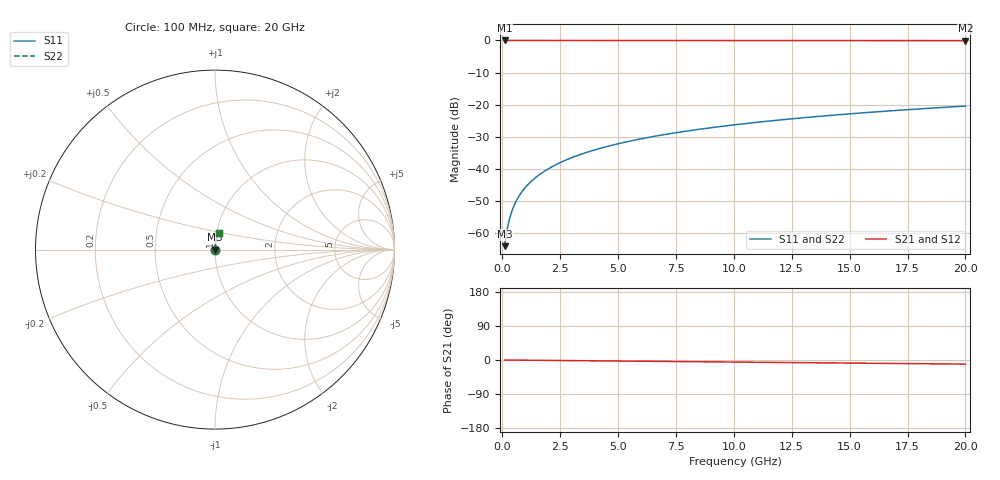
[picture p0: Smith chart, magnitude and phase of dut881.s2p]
! Touchstone file exported from HFSS 2026.1.0
!  File:  C:/ffzhzh/LocalFiles/Ansys_Project_Files/temp_train_TSV_881_1783185750_22436.aedt
!  Generated:  01:24:17 AM Jul  5, 2026
!  Design:  TSV
!  Project:  temp_train_TSV_881_1783185750_22436
! Variables:
!  h_bsmrdl = 2um
!  h_ox = 20um
!  h_rdl = 5um
!  h_sub = 90.01um
!  h_tmrdl = 5um
!  h_tsv = 90.01um
!  h_via = 3um
!  l_bsmrdl = 300um
!  l_sub = 411.68um
!  l_tmrdl = 200um
!  m_sub = 200um
!  pitch = 54.11um
!  r_tsv = 5.84um
!  s_tmrdl = 10um
!  w_bsmrdl = 18um
!  w_sub = 500um
!  w_tmrdl = 12um
!  x_tsv_center1 = 206um
!  x_tsv_center2 = 524um
!  x_tsv_center3 = 736um
!  x_tsv_center4 = 1054um
!  x_tsv_center5 = 1266um
!  x_tsv_center6 = 1584um
# GHz S MA R 50.000000
! Terminal data exported
! Port[1] = TSV1_1_T1
! Port[2] = TSV1_1_T2
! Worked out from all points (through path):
!   200 points, 100 MHz to 20 GHz, reference 50 ohm
!   highest |S21| = 0.00 dB at 100 MHz (marker M1); lowest = -0.1 dB at 20 GHz (marker M2)
!   group delay of S21, straight-line fit = 1.5 ps
!   lowest |S11| = -64.1 dB at 100 MHz (marker M3), VSWR 1.00, Z = 50 + j0.0524 ohm
!   |S11| at or under -10 dB: start of sweep to end of sweep
!   |S22| runs from -64.1 to -20.5 dB; largest |S21 - S12| = 4.5e-15
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0.1  0.000621 57.5  0.9997 -0.1  0.9997 -0.1  0.000621 57.5
! Gamma 0 0 0 0
! Port Impedance 50 0 50 0
0.2  0.001101 71.8  0.9997 -0.1  0.9997 -0.1  0.001101 71.8
0.3  0.001606 77.0  0.9996 -0.2  0.9996 -0.2  0.001606 77.0
0.4  0.002115 79.6  0.9996 -0.2  0.9996 -0.2  0.002115 79.6
0.5  0.002624 81.1  0.9996 -0.3  0.9996 -0.3  0.002624 81.1
0.6  0.003129 82.1  0.9996 -0.3  0.9996 -0.3  0.003129 82.1
0.7  0.003632 82.7  0.9996 -0.4  0.9996 -0.4  0.003632 82.7
0.8  0.004133 83.2  0.9995 -0.4  0.9995 -0.4  0.004133 83.2
1  0.005126 83.9  0.9995 -0.6  0.9995 -0.6  0.005126 83.9
1.4  0.007095 84.6  0.9994 -0.8  0.9994 -0.8  0.007095 84.6
1.7  0.008564 84.9  0.9993 -0.9  0.9993 -0.9  0.008564 84.9
2  0.01003 85.1  0.9993 -1.1  0.9993 -1.1  0.01003 85.1
2.7  0.01343 85.3  0.9991 -1.5  0.9991 -1.5  0.01343 85.3
3.5  0.01731 85.2  0.999 -1.9  0.999 -1.9  0.01731 85.2
4.2  0.02068 85.1  0.9988 -2.3  0.9988 -2.3  0.02068 85.1
5  0.02453 84.8  0.9987 -2.7  0.9987 -2.7  0.02453 84.8
6.8  0.03312 84.2  0.9982 -3.7  0.9982 -3.7  0.03312 84.2
8.3  0.04024 83.6  0.9978 -4.5  0.9978 -4.5  0.04024 83.6
10.1  0.04875 82.8  0.9973 -5.5  0.9973 -5.5  0.04875 82.8
13.4  0.06427 81.2  0.9963 -7.3  0.9963 -7.3  0.06427 81.2
16.7  0.07965 79.6  0.995 -9.0  0.995 -9.0  0.07965 79.6
20  0.09485 78.0  0.9934 -10.8  0.9934 -10.8  0.09485 78.0
